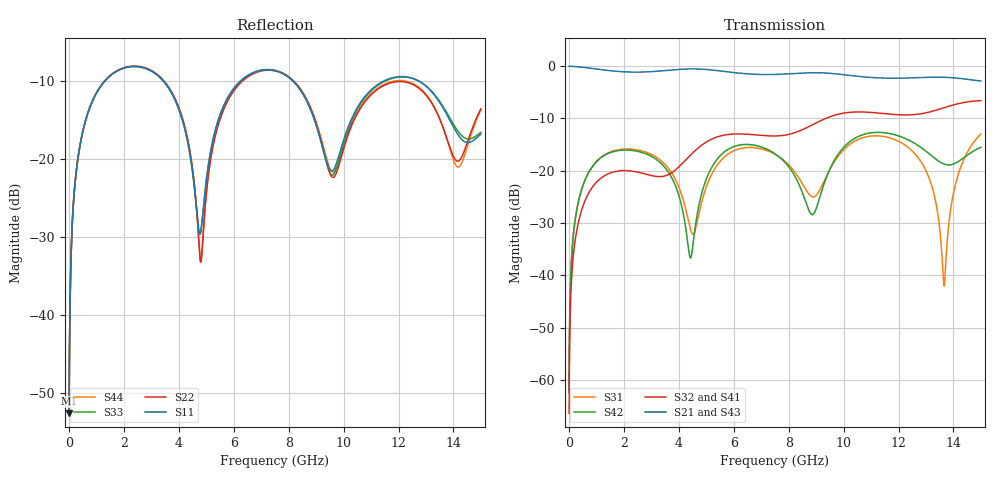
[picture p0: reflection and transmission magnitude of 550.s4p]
! Created with skrf 1.8.0 (http://scikit-rf.org).
# GHz S RI R 50.0
!freq ReS11 ImS11 ReS12 ImS12 ReS13 ImS13
! ReS14 ImS14
! ReS21 ImS21 ReS22 ImS22 ReS23 ImS23
! ReS24 ImS24
! ReS31 ImS31 ReS32 ImS32 ReS33 ImS33
! ReS34 ImS34
! ReS41 ImS41 ReS42 ImS42 ReS43 ImS43
! ReS44 ImS44
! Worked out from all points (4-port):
!   2499 points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, 5 MHz to 15 GHz, reference 50 ohm
!   strongest paths, dB at 5 MHz, 3.476 GHz, 7.19 GHz, 11.1 GHz, 15 GHz:
!     S21: 0.0, -0.9, -1.6, -2.2, -2.9
!     S43: 0.0, -0.9, -1.6, -2.2, -2.9
!     S32: -66.4, -21.0, -13.3, -8.9, -6.6
!     S41: -66.4, -21.0, -13.3, -9.0, -6.6
!     S42: -62.4, -19.3, -15.8, -12.7, -15.5
!     S31: -62.4, -18.7, -16.1, -13.3, -13.0
!   lowest |S11| = -52.6 dB at 5 MHz (marker M1), VSWR 1.00, Z = 50.2 + j0.143 ohm
!   |S11| at or under -10 dB: 3.43 GHz to 6.259 GHz (2.829 GHz wide, 58.4 % of centre); 8.145 GHz to 11.48 GHz (3.332 GHz wide, 34 % of centre); 12.72 GHz to end of sweep (the widest 3 of 4)
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0.005  0.00187 0.00142  0.9981 -0.00364  9.54e-05 0.000756  -9.24e-05 -0.000472
       0.9981 -0.00364  0.00187 0.00142  -9.24e-05 -0.000472  9.52e-05 0.000756
       9.54e-05 0.000756  -9.24e-05 -0.000472  0.00187 0.00142  0.9981 -0.00364
       -9.24e-05 -0.000472  9.52e-05 0.000756  0.9981 -0.00364  0.00187 0.00142
1.725719  0.339 0.1314  0.3667 -0.8131  0.1551 0.0274  -0.0956 0.0246
          0.3667 -0.8131  0.3413 0.1289  -0.0957 0.0247  0.1495 0.0399
          0.1551 0.0274  -0.0957 0.0247  0.3389 0.1315  0.3667 -0.8131
          -0.0956 0.0246  0.1495 0.0399  0.3667 -0.8131  0.3413 0.1289
4.798182  0.0334 0.0067  -0.9343 -0.0563  -0.0134 0.0441  -0.00587 0.1727
          -0.9343 -0.0563  0.0219 -0.00152  -0.00498 0.1728  0.0263 0.0494
          -0.0134 0.0441  -0.00498 0.1728  0.0335 0.00746  -0.9343 -0.0559
          -0.00587 0.1727  0.0263 0.0494  -0.9343 -0.0559  0.0218 -0.000685
7.359316  0.3704 -0.0225  -0.0283 0.8304  0.1255 -0.0823  0.2088 -0.05
          -0.0283 0.8304  0.369 -0.0178  0.2086 -0.0517  0.1287 -0.0835
          0.1255 -0.0823  0.2086 -0.0517  0.3719 -0.0235  -0.0284 0.8296
          0.2088 -0.05  0.1287 -0.0835  -0.0284 0.8296  0.3711 -0.0166
9.904127  0.1035 0.0531  0.8315 -0.0451  0.0323 0.145  -0.0378 -0.3481
          0.8315 -0.0451  0.0913 0.0431  -0.0403 -0.3491  0.0576 0.1449
          0.0323 0.145  -0.0403 -0.3491  0.0968 0.0517  0.8317 -0.0442
          -0.0378 -0.3481  0.0576 0.1449  0.8317 -0.0442  0.098 0.0412
13.66194  0.1699 -0.1173  -0.5733 -0.5315  -0.00788 -0.000397  -0.2694 0.2965
          -0.5733 -0.5315  0.1317 -0.076  -0.2628 0.3019  -0.0979 -0.0619
          -0.00788 -0.000397  -0.2628 0.3019  0.179 -0.1118  -0.5718 -0.5323
          -0.2694 0.2965  -0.0979 -0.0619  -0.5718 -0.5323  0.1255 -0.0853
15  0.1441 0.00992  -0.7125 0.0966  0.1849 0.127  0.0987 0.4569
    -0.7125 0.0966  0.1712 0.1206  0.1057 0.4546  0.00817 0.1673
    0.1849 0.127  0.1057 0.4546  0.1477 0.00787  -0.7127 0.0951
    0.0987 0.4569  0.00817 0.1673  -0.7127 0.0951  0.1659 0.1216
